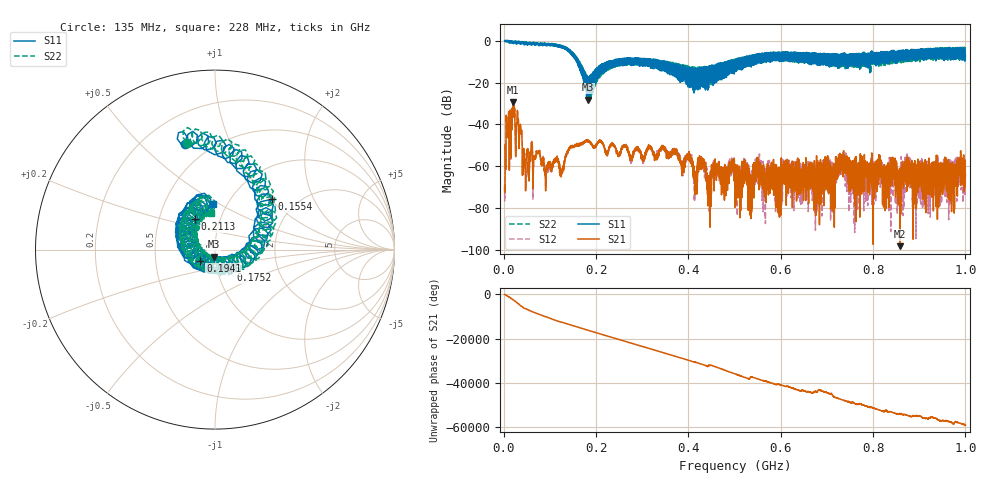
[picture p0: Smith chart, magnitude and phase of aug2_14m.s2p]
!Keysight Technologies N9923A: A.12.45
!Date: Saturday, 02 August 2025 19:00:45
!Timezone: (UTC+08:00) Kuala Lumpur, Singapore
!Model: N9923A
!Serial: MY61181427
!GPS Latitude:
!GPS Longitude:
!GPS TimeStamp: 0001-01-01 00:00:00Z
!GPS Seconds Since Last Read: 0
!CHECKSUM:0059276176
!Correction: S11(ON U)S21(ON U)S12(ON U)S22(ON U)
!S2P File: Measurements:S11,S21,S12,S22:
# Hz S DB R 50
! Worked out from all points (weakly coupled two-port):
!   4001 points, 2 MHz to 1 GHz, reference 50 ohm
!   highest |S21| = -29.22 dB at 19.96 MHz (marker M1); lowest = -98.2 dB at 858.5 MHz (marker M2)
!   lowest |S11| = -28.2 dB at 182.9 MHz (marker M3), VSWR 1.08, Z = 49.3 - j3.81 ohm
!   |S11| at or under -10 dB: 162.5 MHz to 223.6 MHz (61.02 MHz wide, 31.6 % of centre); 347.9 MHz to 351 MHz (3.148 MHz wide, 0.901 % of centre); 351.1 MHz to 484.7 MHz (133.6 MHz wide, 32 % of centre) (the widest 3 of 247)
!   |S22| runs from -29.0 to 0.1 dB; largest |S21 - S12| = 0.0026
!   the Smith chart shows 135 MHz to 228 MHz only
!   S11 on the Smith chart (normalised r, x): 135 MHz: 0.36, +0.69; 155.4 MHz: 1.50, +1.03; 175.2 MHz: 1.16, -0.28; 194.1 MHz: 0.84, -0.11; 211.3 MHz: 0.76, +0.27; 228 MHz: 0.86, +0.47
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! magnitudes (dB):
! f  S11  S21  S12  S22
! 2 MHz  -0.1  -71.4  -70.2  -0.1
! 9.735 MHz  -0.1  -41.1  -41.1  -0.1
! 19.96 MHz  -0.4  -29.2  -29.0  -0.5
! 45.16 MHz  -1.0  -59.4  -60.4  -0.5
! 135 MHz  -4.2  -54.9  -55.2  -4.2
! 155.4 MHz  -7.5  -49.7  -50.3  -7.7
! 168.4 MHz  -14.5  -49.6  -49.2  -15.0
! 175.2 MHz  -16.7  -48.3  -48.7  -18.6
! 182.9 MHz  -28.2  -47.6  -47.9  -23.5
! 194.1 MHz  -19.8  -50.7  -51.0  -17.8
! 211.3 MHz  -13.8  -48.4  -47.9  -16.8
! 228 MHz  -11.9  -51.5  -52.3  -13.8
! 334.8 MHz  -11.7  -55.8  -54.9  -9.7
! 401.9 MHz  -21.1  -55.5  -53.6  -13.0
! 415.4 MHz  -23.5  -67.5  -66.1  -14.4
! 429.6 MHz  -12.7  -61.0  -57.4  -15.8
! 444.9 MHz  -13.0  -68.3  -81.5  -13.2
! 501 MHz  -12.3  -63.5  -61.0  -13.0
! 667.4 MHz  -6.9  -67.7  -66.4  -10.1
! 833.8 MHz  -6.8  -60.6  -60.0  -7.7
! 858.5 MHz  -9.1  -98.2  -63.8  -5.1
! 1 GHz  -7.2  -64.1  -61.9  -3.1
